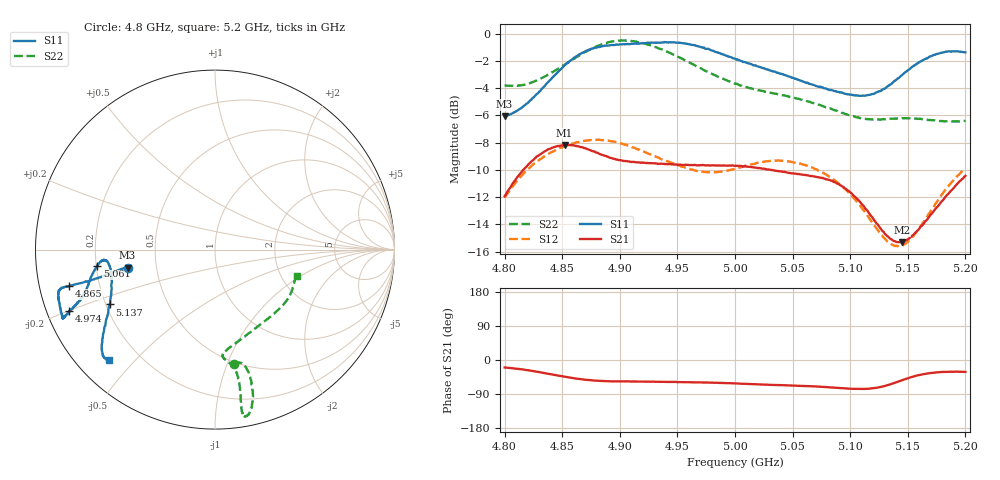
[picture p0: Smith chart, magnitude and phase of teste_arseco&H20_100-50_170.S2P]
! Network Analyzer HP8722D
! Hewlett-Packard
! Data name: Linha & Wilkinson
! Saver's name: Rodrigo Anjos
! Comments: Teste da utilização de aquisição
! continua pelo VNA HP8722D
! Time and date: 6/5/2025 13:59
!  Frequency  S11  S21  S12  S22
# HZ  S  MA R 50
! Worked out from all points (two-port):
!   401 points, 4.8 GHz to 5.2 GHz, reference 50 ohm
!   highest |S21| = -8.17 dB at 4.852 GHz (marker M1); lowest = -15.3 dB at 5.145 GHz (marker M2)
!   |S21| within 3 dB of the highest: 4.806 GHz to 5.092 GHz (286.6 MHz wide, 5.79 % of centre); 5.191354 GHz to end of sweep
!   lowest |S11| = -6.1 dB at 4.8 GHz (marker M3), VSWR 2.98, Z = 16.9 - j4.55 ohm
!   |S11| at or under -10 dB: nowhere
!   |S22| runs from -6.4 to -0.5 dB; largest |S21 - S12| = 0.62
!   S11 on the Smith chart (normalised r, x): 4.8 GHz: 0.34, -0.09; 4.865 GHz: 0.09, -0.12; 4.974 GHz: 0.07, -0.20; 5.061 GHz: 0.20, -0.07; 5.137 GHz: 0.22, -0.23; 5.2 GHz: 0.09, -0.42
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4.8e9  0.4972 -168.3  0.2534 -19.9  0.2499 -141.0  0.6475 -80.4
4.828e9  0.6011 -167.2  0.3544 -30.9  0.3391 -145.0  0.675 -75.5
4.852e9  0.7645 -166.0  0.3902 -44.0  0.3862 -149.6  0.769 -74.6
4.865e9  0.8398 -166.0  0.3848 -50.2  0.4009 -151.9  0.833 -75.3
4.867e9  0.8485 -165.9  0.3835 -51.1  0.4024 -152.2  0.8428 -75.4
4.88e9  0.8906 -165.8  0.366 -54.7  0.4081 -154.3  0.899 -76.8
4.901e9  0.9145 -162.5  0.3432 -56.4  0.3954 -156.9  0.9447 -79.4
4.934e9  0.9272 -156.6  0.3333 -57.6  0.3509 -155.8  0.8821 -80.5
4.951e9  0.9259 -155.7  0.3309 -58.3  0.3286 -152.8  0.8214 -80.0
4.974e9  0.8814 -157.1  0.3285 -59.4  0.3108 -145.6  0.7321 -79.6
5e9  0.8104 -159.2  0.3273 -61.9  0.3193 -137.3  0.655 -81.3
5.038e9  0.7175 -166.3  0.3131 -66.1  0.3428 -134.7  0.5983 -85.8
5.061e9  0.6628 -172.0  0.303 -68.6  0.3291 -136.5  0.5687 -84.0
5.067e9  0.6506 -173.2  0.3002 -69.2  0.3228 -136.9  0.5572 -82.6
5.086e9  0.6159 -174.6  0.2853 -72.9  0.2907 -138.6  0.5244 -75.3
5.103e9  0.5952 -171.4  0.2542 -76.2  0.2493 -138.8  0.498 -65.1
5.116e9  0.5957 -165.4  0.2206 -75.8  0.2118 -135.6  0.4857 -55.7
5.134e9  0.6479 -154.3  0.1778 -65.1  0.1704 -120.5  0.4867 -43.3
5.137e9  0.6615 -152.5  0.1742 -62.1  0.1677 -116.7  0.4874 -41.5
5.145e9  0.7047 -148.4  0.1715 -53.3  0.1668 -106.1  0.4897 -36.9
5.174e9  0.8388 -138.6  0.2274 -32.8  0.2373 -80.4  0.4802 -24.0
5.2e9  0.8546 -133.7  0.3007 -31.6  0.3193 -77.0  0.4785 -17.6
